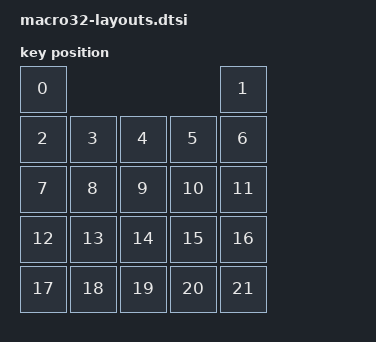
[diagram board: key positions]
#include <physical_layouts.dtsi>
/* https://zmk-physical-layout-converter.streamlit.app/?layout=H4sIAAAAAAACA4XOsQrCMBCA4b1PcWQu0t7d5OYuuNihFIfuBQcVLCHvbkxLCyL8U3L3J_DFSiRM43x_PR_hKDGPeXE-9Zfuus3bk7wZ1o1IlPDOi-bQ1BLm5Sap_u0Off_f_u0tdIVu0B367lPwKfgUfAo-BZ-Bz8Bn4DPwGfgcfA4-B5-Dr_Q138r5nVKVPv-qrYAFAwAA */

/ {
    macro32_layout: macro32_layout {
        compatible = "zmk,physical-layout";
        display-name = "Default";

        kscan = <&matrix>;
        transform = <&default_transform>;

        keys  //                     w   h    x    y     rot    rx    ry
            = <&key_physical_attrs 100 100    0    0       0     0     0>
            , <&key_physical_attrs 100 100  400    0       0     0     0>
            , <&key_physical_attrs 100 100    0  100       0     0     0>
            , <&key_physical_attrs 100 100  100  100       0     0     0>
            , <&key_physical_attrs 100 100  200  100       0     0     0>
            , <&key_physical_attrs 100 100  300  100       0     0     0>
            , <&key_physical_attrs 100 100  400  100       0     0     0>
            , <&key_physical_attrs 100 100    0  200       0     0     0>
            , <&key_physical_attrs 100 100  100  200       0     0     0>
            , <&key_physical_attrs 100 100  200  200       0     0     0>
            , <&key_physical_attrs 100 100  300  200       0     0     0>
            , <&key_physical_attrs 100 100  400  200       0     0     0>
            , <&key_physical_attrs 100 100    0  300       0     0     0>
            , <&key_physical_attrs 100 100  100  300       0     0     0>
            , <&key_physical_attrs 100 100  200  300       0     0     0>
            , <&key_physical_attrs 100 100  300  300       0     0     0>
            , <&key_physical_attrs 100 100  400  300       0     0     0>
            , <&key_physical_attrs 100 100    0  400       0     0     0>
            , <&key_physical_attrs 100 100  100  400       0     0     0>
            , <&key_physical_attrs 100 100  200  400       0     0     0>
            , <&key_physical_attrs 100 100  300  400       0     0     0>
            , <&key_physical_attrs 100 100  400  400       0     0     0>
            ;
    };
};
